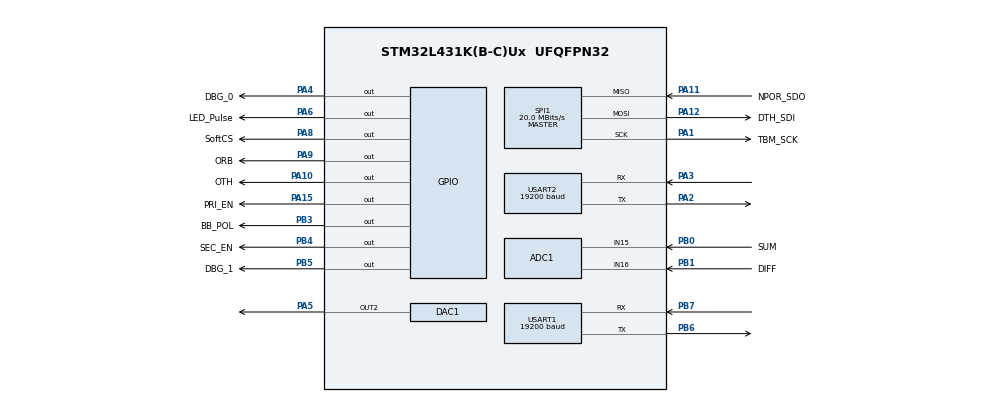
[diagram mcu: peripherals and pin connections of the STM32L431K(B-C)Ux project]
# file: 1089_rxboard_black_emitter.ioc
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ADC1.Channel-0\#ChannelRegularConversion=ADC_CHANNEL_16
ADC1.Channel-1\#ChannelRegularConversion=ADC_CHANNEL_15
ADC1.ClockPrescaler=ADC_CLOCK_ASYNC_DIV4
ADC1.EOCSelection=ADC_EOC_SINGLE_CONV
ADC1.NbrOfConversion=2
ADC1.NbrOfConversionFlag=1
ADC1.OffsetNumber-0\#ChannelRegularConversion=ADC_OFFSET_NONE
ADC1.OffsetNumber-1\#ChannelRegularConversion=ADC_OFFSET_NONE
ADC1.Rank-0\#ChannelRegularConversion=1
ADC1.Rank-1\#ChannelRegularConversion=2
ADC1.SamplingTime-0\#ChannelRegularConversion=ADC_SAMPLETIME_92CYCLES_5
ADC1.SamplingTime-1\#ChannelRegularConversion=ADC_SAMPLETIME_12CYCLES_5
ADC1.master=1
DAC1.DAC_Channel-DAC_OUT2=DAC_CHANNEL_2
DAC1.DAC_Trigger-DAC_OUT2=DAC_TRIGGER_SOFTWARE
Dma.Request0=SPI1_TX
Dma.Request1=SPI1_RX
Dma.SPI1_RX.1.Direction=DMA_PERIPH_TO_MEMORY
Dma.SPI1_RX.1.Instance=DMA1_Channel2
Dma.SPI1_RX.1.MemDataAlignment=DMA_MDATAALIGN_BYTE
Dma.SPI1_RX.1.MemInc=DMA_MINC_ENABLE
Dma.SPI1_RX.1.Mode=DMA_NORMAL
Dma.SPI1_RX.1.PeriphDataAlignment=DMA_PDATAALIGN_BYTE
Dma.SPI1_RX.1.PeriphInc=DMA_PINC_DISABLE
Dma.SPI1_RX.1.Priority=DMA_PRIORITY_LOW
Dma.SPI1_TX.0.Direction=DMA_MEMORY_TO_PERIPH
Dma.SPI1_TX.0.Instance=DMA1_Channel3
Dma.SPI1_TX.0.MemDataAlignment=DMA_MDATAALIGN_BYTE
Dma.SPI1_TX.0.MemInc=DMA_MINC_ENABLE
Dma.SPI1_TX.0.Mode=DMA_NORMAL
Dma.SPI1_TX.0.PeriphDataAlignment=DMA_PDATAALIGN_BYTE
Dma.SPI1_TX.0.PeriphInc=DMA_PINC_DISABLE
Dma.SPI1_TX.0.Priority=DMA_PRIORITY_MEDIUM
FREERTOS.Tasks01=defaultTask,24,128,StartDefaultTask,Default,NULL,Static,defaultTaskBuffer,defaultTaskControlBlock
FREERTOS.configENABLE_FPU=1
FREERTOS.configTICK_RATE_HZ=1000
FREERTOS.configUSE_NEWLIB_REENTRANT=1
Mcu.Family=STM32L4
Mcu.Name=STM32L431K(B-C)Ux
Mcu.Package=UFQFPN32
NVIC.DMA1_Channel2_IRQn=true\:5\:0\:false\:false\:true\:true\:false\:true\:true
NVIC.DMA1_Channel3_IRQn=true\:5\:0\:false\:false\:true\:true\:false\:true\:true
NVIC.PriorityGroup=NVIC_PRIORITYGROUP_4
NVIC.TIM1_UP_TIM16_IRQn=true\:15\:0\:false\:false\:true\:false\:false\:true\:true
NVIC.TimeBase=TIM1_UP_TIM16_IRQn
NVIC.TimeBaseIP=TIM16
NVIC.USART1_IRQn=true\:5\:0\:false\:false\:true\:true\:true\:true\:true
NVIC.USART2_IRQn=true\:5\:0\:false\:false\:true\:true\:true\:true\:true
PA1.GPIO_Label=TBM_SCK
PA1.Mode=Full_Duplex_Master
PA1.Signal=SPI1_SCK
PA10.GPIO_Label=OTH
PA10.GPIO_Speed=GPIO_SPEED_FREQ_VERY_HIGH
PA10.PinState=GPIO_PIN_SET
PA10.Signal=GPIO_Output
PA11.GPIO_Label=NPOR_SDO
PA11.Mode=Full_Duplex_Master
PA11.Signal=SPI1_MISO
PA12.GPIO_Label=DTH_SDI
PA12.Mode=Full_Duplex_Master
PA12.Signal=SPI1_MOSI
PA13\ (JTMS-SWDIO).Mode=Serial_Wire
PA13\ (JTMS-SWDIO).Signal=SYS_JTMS-SWDIO
PA14\ (JTCK-SWCLK).Mode=Serial_Wire
PA14\ (JTCK-SWCLK).Signal=SYS_JTCK-SWCLK
PA15\ (JTDI).GPIO_Label=PRI_EN
PA15\ (JTDI).GPIO_Speed=GPIO_SPEED_FREQ_VERY_HIGH
PA15\ (JTDI).PinState=GPIO_PIN_SET
PA15\ (JTDI).Signal=GPIO_Output
PA2.Mode=Asynchronous
PA2.Signal=USART2_TX
PA3.Mode=Asynchronous
PA3.Signal=USART2_RX
PA4.GPIO_Label=DBG_0
PA4.GPIO_Speed=GPIO_SPEED_FREQ_VERY_HIGH
PA4.PinState=GPIO_PIN_SET
PA4.Signal=GPIO_Output
PA5.Signal=COMP_DAC12_group
PA6.GPIO_Label=LED_Pulse
PA6.GPIO_Speed=GPIO_SPEED_FREQ_VERY_HIGH
PA6.PinState=GPIO_PIN_SET
PA6.Signal=GPIO_Output
PA8.GPIO_Label=SoftCS
PA8.GPIO_Speed=GPIO_SPEED_FREQ_VERY_HIGH
PA8.PinState=GPIO_PIN_SET
PA8.Signal=GPIO_Output
PA9.GPIO_Label=ORB
PA9.GPIO_Speed=GPIO_SPEED_FREQ_VERY_HIGH
PA9.PinState=GPIO_PIN_SET
PA9.Signal=GPIO_Output
PB0.GPIO_Label=SUM
PB0.Signal=ADCx_IN15
PB1.GPIO_Label=DIFF
PB1.Signal=ADCx_IN16
PB3\ (JTDO-TRACESWO).GPIO_Label=BB_POL
PB3\ (JTDO-TRACESWO).GPIO_Speed=GPIO_SPEED_FREQ_VERY_HIGH
PB3\ (JTDO-TRACESWO).PinState=GPIO_PIN_SET
PB3\ (JTDO-TRACESWO).Signal=GPIO_Output
PB4\ (NJTRST).GPIO_Label=SEC_EN
PB4\ (NJTRST).GPIO_Speed=GPIO_SPEED_FREQ_VERY_HIGH
PB4\ (NJTRST).PinState=GPIO_PIN_SET
PB4\ (NJTRST).Signal=GPIO_Output
PB5.GPIO_Label=DBG_1
PB5.GPIO_Speed=GPIO_SPEED_FREQ_VERY_HIGH
PB5.PinState=GPIO_PIN_SET
PB5.Signal=GPIO_Output
PB6.Mode=Asynchronous
PB6.Signal=USART1_TX
PB7.Mode=Asynchronous
PB7.Signal=USART1_RX
PC14-OSC32_IN\ (PC14).Mode=LSE-External-Oscillator
PC14-OSC32_IN\ (PC14).Signal=RCC_OSC32_IN
PC15-OSC32_OUT\ (PC15).Mode=LSE-External-Oscillator
PC15-OSC32_OUT\ (PC15).Signal=RCC_OSC32_OUT
ProjectManager.HeapSize=0x200
ProjectManager.StackSize=0x400
ProjectManager.TargetToolchain=STM32CubeIDE
RCC.ADCCLockSelection=RCC_ADCCLKSOURCE_SYSCLK
RCC.ADCFreq_Value=80000000
RCC.AHBFreq_Value=80000000
RCC.APB1Freq_Value=80000000
RCC.APB1TimFreq_Value=80000000
RCC.APB2Freq_Value=80000000
RCC.APB2TimFreq_Value=80000000
RCC.CortexFreq_Value=80000000
RCC.HCLKFreq_Value=80000000
RCC.HSE_VALUE=8000000
RCC.HSI48_VALUE=48000000
RCC.HSI_VALUE=16000000
RCC.MSIClockRange=RCC_MSIRANGE_8
RCC.MSI_VALUE=16000000
RCC.PLLN=10
RCC.PLLSAI1N=10
RCC.SYSCLKFreq_VALUE=80000000
RCC.SYSCLKSource=RCC_SYSCLKSOURCE_PLLCLK
RCC.USART1CLockSelection=RCC_USART1CLKSOURCE_SYSCLK
RCC.USART2CLockSelection=RCC_USART2CLKSOURCE_SYSCLK
RCC.VCOOutputFreq_Value=160000000
SH.ADCx_IN15.0=ADC1_IN15,IN15-Single-Ended
SH.ADCx_IN16.0=ADC1_IN16,IN16-Single-Ended
SH.COMP_DAC12_group.0=DAC1_OUT2,DAC_OUT2
SPI1.BaudRatePrescaler=SPI_BAUDRATEPRESCALER_4
SPI1.CalculateBaudRate=20.0 MBits/s
SPI1.DataSize=SPI_DATASIZE_8BIT
SPI1.Direction=SPI_DIRECTION_2LINES
SPI1.Mode=SPI_MODE_MASTER
SPI1.VirtualType=VM_MASTER
TIM2.Channel-Output\ Compare1\ No\ Output=TIM_CHANNEL_1
TIM2.Prescaler=79
USART1.BaudRate=19200
USART1.DataInvertParam=ADVFEATURE_DATAINV_DISABLE
USART1.RxPinLevelInvertParam=ADVFEATURE_RXINV_DISABLE
USART1.StopBits=STOPBITS_2
USART1.TxPinLevelInvertParam=ADVFEATURE_TXINV_ENABLE
USART1.VirtualMode-Asynchronous=VM_ASYNC
USART2.BaudRate=19200
USART2.DataInvertParam=ADVFEATURE_DATAINV_DISABLE
USART2.RxPinLevelInvertParam=ADVFEATURE_RXINV_DISABLE
USART2.StopBits=STOPBITS_2
USART2.TxPinLevelInvertParam=ADVFEATURE_TXINV_ENABLE
USART2.VirtualMode-Asynchronous=VM_ASYNC
VP_FREERTOS_VS_CMSIS_V2.Mode=CMSIS_V2
VP_RCC_LSE.Mode=CRS SYNC Source LSE
VP_SYS_VS_tim16.Mode=TIM16
VP_TIM2_VS_ClockSourceINT.Mode=Internal
VP_TIM2_VS_no_output1.Mode=Output Compare1 No Output
board=custom

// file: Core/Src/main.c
/* USER CODE BEGIN Header */
/**
  ******************************************************************************
  * @file           : main.c
  * @brief          : Main program body
  ******************************************************************************
  * @attention
  *
  * Copyright (c) 2023 STMicroelectronics.
  * All rights reserved.
  *
  * This software is licensed under terms that can be found in the LICENSE file
  * in the root directory of this software component.
  * If no LICENSE file comes with this software, it is provided AS-IS.
  *
  ******************************************************************************
  */
/* USER CODE END Header */
#include "main.h"
#include "cmsis_os.h"

/* USER CODE BEGIN Includes */
#include "1089E.h"
#include <string.h>
#include "ModbusParserSensor.h"
#include "serialtask.h"
#include "imagertask.h"
#include "defaults.h"
#include "FreeRTOS.h"
#include "semphr.h"
/* USER CODE END Includes */

typedef StaticTask_t osStaticThreadDef_t;

/* Definitions for defaultTask */
osThreadId_t defaultTaskHandle;
uint32_t defaultTaskBuffer[ 128 ];
osStaticThreadDef_t defaultTaskControlBlock;
const osThreadAttr_t defaultTask_attributes = {
  .name = "defaultTask",
  .cb_mem = &defaultTaskControlBlock,
  .cb_size = sizeof(defaultTaskControlBlock),
  .stack_mem = &defaultTaskBuffer[0],
  .stack_size = sizeof(defaultTaskBuffer),
  .priority = (osPriority_t) osPriorityNormal,
};
/* USER CODE BEGIN PV */
/* Definitions for serial_task */
TaskHandle_t serial_taskHandle;
uint32_t serial_taskBuffer[500];
StaticTask_t serial_taskControlBlock;

/* Definitions for imager_task */
TaskHandle_t imager_taskHandle;
uint32_t imager_taskBuffer[1000];
StaticTask_t imager_taskControlBlock;

/* Definitions for line_silence_timer */
TimerHandle_t line_silence_timerHandle;
StaticTimer_t line_silence_timerControlBlock;

/* Definitions for sema_config */
SemaphoreHandle_t sema_configHandle;
StaticSemaphore_t sema_configControlBlock;

/* USER CODE END PV */

void SystemClock_Config(void);
static void MX_GPIO_Init(void);
static void MX_DMA_Init(void);
static void MX_ADC1_Init(void);
static void MX_DAC1_Init(void);
static void MX_SPI1_Init(void);
static void MX_USART1_UART_Init(void);
static void MX_USART2_UART_Init(void);
static void MX_TIM2_Init(void);
void StartDefaultTask(void *argument);

/* USER CODE BEGIN 0 */
extern const uint8_t version_buffer[3];
#ifdef HAS_DAC_OUT
config_and_arrays_dac_t current_config;
#else
config_and_arrays_t current_config;
#endif

uint16_t SUM_REF = 0;
uint16_t DIFF_REF = 0;
uint16_t ref_kick = 0;
// buffers for ADC reads.
// Interleaved diff/sum values.
uint16_t interleaved_adc_samples[ADC_SAMPLE_COUNT];
uint8_t generic_buffer[4];
pixel_t g_pixel_cfg = {0};
uint16_t imager_count;
uint16_t read_kick;
/*
 * \brief Implements ADC cal from rm0394
 * \param [in] adc adc to cal.
 * Cals and enables the ADC.  Leaves the ADC running.
 */
void ADC_cal(ADC_TypeDef * adc)
{
	// single ended cal procedure from rm0394
	if ( (0 == LL_ADC_IsDeepPowerDownEnabled(adc)) &&
		 (1 == LL_ADC_IsInternalRegulatorEnabled(adc)) )
	{
		if (1 == LL_ADC_IsEnabled(adc))
		{
			LL_ADC_Disable(adc);
		}
		LL_ADC_StartCalibration(adc, LL_ADC_SINGLE_ENDED);
		while (1 == LL_ADC_IsCalibrationOnGoing(adc))
		{
		}
		volatile uint16_t tval  = 0;
		LL_ADC_Enable(adc);
		while( 0 == LL_ADC_IsActiveFlag_ADRDY(adc)) {
			tval++;
			if(tval > 2000)
				break;
		}
	}
}

/* USER CODE END 0 */

int main(void)
{

  /* MCU Configuration--------------------------------------------------------*/

  /* Reset of all peripherals, Initializes the Flash interface and the Systick. */
  HAL_Init();

  /* Configure the system clock */
  SystemClock_Config();

  /* USER CODE BEGIN SysInit */
	if (&current_config
			!= memset(&current_config, 0x00, sizeof(current_config)))
	{
		while (1)
		{
		}
	}

	if ( &(interleaved_adc_samples[0]) != memset(interleaved_adc_samples,
							0x00,
							(size_t) (ADC_SAMPLE_COUNT) * sizeof(uint16_t)))
	{
		while (1)
		{
		}
	}
	imager_count = 0;
  /* USER CODE END SysInit */

  /* Initialize all configured peripherals */
  MX_GPIO_Init();
  MX_DMA_Init();
  MX_ADC1_Init();
  MX_DAC1_Init();
  MX_SPI1_Init();
  MX_USART1_UART_Init();
  MX_USART2_UART_Init();
  MX_TIM2_Init();
  /* USER CODE BEGIN 2 */

	// Need 20us to stabilize adc internal voltage regulators
// strictly necessary as -O1 may have removed the stabilizer delay in setup code.
	LL_TIM_CC_EnableChannel(TIM2, LL_TIM_CHANNEL_CH1);
	LL_TIM_ClearFlag_UPDATE(TIM2);
	LL_TIM_DisableCounter(TIM2);
	LL_TIM_DisableARRPreload(TIM2);
	LL_TIM_SetAutoReload(TIM2, 30);
	LL_TIM_EnableCounter(TIM2);
	while (!(LL_TIM_IsActiveFlag_UPDATE(TIM2))) { }
	LL_TIM_ClearFlag_UPDATE(TIM2);
	LL_TIM_DisableCounter(TIM2);
	LL_TIM_DisableARRPreload(TIM2);
	LL_TIM_DisableCounter(TIM2);

	LL_GPIO_ResetOutputPin(LED_Pulse_GPIO_Port, LED_Pulse_Pin);

	// single ended cal procedure from rm0394
	ADC_cal(ADC1);
	if(ModbusParser__CheckForModbusTableError())
	{
		while(1) {}
	}
  /* USER CODE END 2 */

  /* Init scheduler */
  osKernelInitialize();

  /* USER CODE BEGIN RTOS_SEMAPHORES */
  sema_configHandle = xSemaphoreCreateBinaryStatic(&sema_configControlBlock);
  // intialize the semaphore
  xSemaphoreGive(sema_configHandle);

  /* USER CODE END RTOS_SEMAPHORES */

  /* USER CODE BEGIN RTOS_TIMERS */
	uint32_t lst = 1;
	line_silence_timerHandle = xTimerCreateStatic("line_silence_tmr",
			pdMS_TO_TICKS(5),
			pdFALSE,
			&lst,
			line_silence_cb,
			&line_silence_timerControlBlock);
  /* USER CODE END RTOS_TIMERS */

  /* Create the thread(s) */
  /* creation of defaultTask */
  defaultTaskHandle = osThreadNew(StartDefaultTask, NULL, &defaultTask_attributes);

  /* USER CODE BEGIN RTOS_THREADS */
	serial_taskHandle = xTaskCreateStatic(serial_task_func,
					"serial_task",
					500,
					NULL,
					( tskIDLE_PRIORITY + 2 ),
					serial_taskBuffer,
					&serial_taskControlBlock);

	/* creation of imager_task */
	imager_taskHandle = xTaskCreateStatic(imager_task_func,
			"imager_task",
			1000,
			NULL,
			( tskIDLE_PRIORITY + 3 ),
			imager_taskBuffer,
			&imager_taskControlBlock);
  /* USER CODE END RTOS_THREADS */

  /* Start scheduler */
  osKernelStart();

  /* We should never get here as control is now taken by the scheduler */
  /* Infinite loop */
  while (1)
  {

  }
}

void SystemClock_Config(void)
{
  LL_FLASH_SetLatency(LL_FLASH_LATENCY_4);
  while(LL_FLASH_GetLatency()!= LL_FLASH_LATENCY_4)
  {
  }
  LL_PWR_SetRegulVoltageScaling(LL_PWR_REGU_VOLTAGE_SCALE1);
  while (LL_PWR_IsActiveFlag_VOS() != 0)
  {
  }
  LL_RCC_MSI_Enable();

   /* Wait till MSI is ready */
  while(LL_RCC_MSI_IsReady() != 1)
  {

  }
  LL_RCC_MSI_EnableRangeSelection();
  LL_RCC_MSI_SetRange(LL_RCC_MSIRANGE_8);
  LL_RCC_MSI_SetCalibTrimming(0);
  LL_PWR_EnableBkUpAccess();
  LL_RCC_LSE_SetDriveCapability(LL_RCC_LSEDRIVE_LOW);
  LL_RCC_LSE_Enable();

   /* Wait till LSE is ready */
  while(LL_RCC_LSE_IsReady() != 1)
  {

  }
  LL_RCC_MSI_EnablePLLMode();
  LL_RCC_PLL_ConfigDomain_SYS(LL_RCC_PLLSOURCE_MSI, LL_RCC_PLLM_DIV_1, 10, LL_RCC_PLLR_DIV_2);
  LL_RCC_PLL_EnableDomain_SYS();
  LL_RCC_PLL_Enable();

   /* Wait till PLL is ready */
  while(LL_RCC_PLL_IsReady() != 1)
  {

  }
  LL_RCC_SetSysClkSource(LL_RCC_SYS_CLKSOURCE_PLL);

   /* Wait till System clock is ready */
  while(LL_RCC_GetSysClkSource() != LL_RCC_SYS_CLKSOURCE_STATUS_PLL)
  {

  }
  LL_RCC_SetAHBPrescaler(LL_RCC_SYSCLK_DIV_1);
  LL_RCC_SetAPB1Prescaler(LL_RCC_APB1_DIV_1);
  LL_RCC_SetAPB2Prescaler(LL_RCC_APB2_DIV_1);
  LL_SetSystemCoreClock(80000000);

   /* Update the time base */
  if (HAL_InitTick (TICK_INT_PRIORITY) != HAL_OK)
  {
    Error_Handler();
  }
  LL_APB1_GRP1_EnableClock(LL_APB1_GRP1_PERIPH_CRS);
  LL_APB1_GRP1_ForceReset(LL_APB1_GRP1_PERIPH_CRS);
  LL_APB1_GRP1_ReleaseReset(LL_APB1_GRP1_PERIPH_CRS);
  LL_CRS_SetSyncDivider(LL_CRS_SYNC_DIV_1);
  LL_CRS_SetSyncPolarity(LL_CRS_SYNC_POLARITY_RISING);
  LL_CRS_SetSyncSignalSource(LL_CRS_SYNC_SOURCE_LSE);
  LL_CRS_SetReloadCounter(__LL_CRS_CALC_CALCULATE_RELOADVALUE(48000000,32768));
  LL_CRS_SetFreqErrorLimit(34);
  LL_CRS_SetHSI48SmoothTrimming(32);
}

static void MX_ADC1_Init(void)
{

  LL_ADC_InitTypeDef ADC_InitStruct = {0};
  LL_ADC_REG_InitTypeDef ADC_REG_InitStruct = {0};
  LL_ADC_CommonInitTypeDef ADC_CommonInitStruct = {0};

  LL_GPIO_InitTypeDef GPIO_InitStruct = {0};

  LL_RCC_SetADCClockSource(LL_RCC_ADC_CLKSOURCE_SYSCLK);

  /* Peripheral clock enable */
  LL_AHB2_GRP1_EnableClock(LL_AHB2_GRP1_PERIPH_ADC);

  LL_AHB2_GRP1_EnableClock(LL_AHB2_GRP1_PERIPH_GPIOB);
  /**ADC1 GPIO Configuration
  PB0   ------> ADC1_IN15
  PB1   ------> ADC1_IN16
  */
  GPIO_InitStruct.Pin = SUM_Pin|DIFF_Pin;
  GPIO_InitStruct.Mode = LL_GPIO_MODE_ANALOG;
  GPIO_InitStruct.Pull = LL_GPIO_PULL_NO;
  LL_GPIO_Init(GPIOB, &GPIO_InitStruct);

  /** Common config
  */
  ADC_InitStruct.Resolution = LL_ADC_RESOLUTION_12B;
  ADC_InitStruct.DataAlignment = LL_ADC_DATA_ALIGN_RIGHT;
  ADC_InitStruct.LowPowerMode = LL_ADC_LP_MODE_NONE;
  LL_ADC_Init(ADC1, &ADC_InitStruct);
  ADC_REG_InitStruct.TriggerSource = LL_ADC_REG_TRIG_SOFTWARE;
  ADC_REG_InitStruct.SequencerLength = LL_ADC_REG_SEQ_SCAN_ENABLE_2RANKS;
  ADC_REG_InitStruct.SequencerDiscont = LL_ADC_REG_SEQ_DISCONT_DISABLE;
  ADC_REG_InitStruct.ContinuousMode = LL_ADC_REG_CONV_SINGLE;
  ADC_REG_InitStruct.DMATransfer = LL_ADC_REG_DMA_TRANSFER_NONE;
  ADC_REG_InitStruct.Overrun = LL_ADC_REG_OVR_DATA_PRESERVED;
  LL_ADC_REG_Init(ADC1, &ADC_REG_InitStruct);
  ADC_CommonInitStruct.CommonClock = LL_ADC_CLOCK_ASYNC_DIV4;
  LL_ADC_CommonInit(__LL_ADC_COMMON_INSTANCE(ADC1), &ADC_CommonInitStruct);
  LL_ADC_SetCommonPathInternalCh(__LL_ADC_COMMON_INSTANCE(ADC1), LL_ADC_PATH_INTERNAL_NONE);

  /* Disable ADC deep power down (enabled by default after reset state) */
  LL_ADC_DisableDeepPowerDown(ADC1);
  /* Enable ADC internal voltage regulator */
  LL_ADC_EnableInternalRegulator(ADC1);
  /* Delay for ADC internal voltage regulator stabilization. */
  /* Compute number of CPU cycles to wait for, from delay in us. */
  /* Note: Variable divided by 2 to compensate partially */
  /* CPU processing cycles (depends on compilation optimization). */
  /* Note: If system core clock frequency is below 200kHz, wait time */
  /* is only a few CPU processing cycles. */
  uint32_t wait_loop_index;
  wait_loop_index = ((LL_ADC_DELAY_INTERNAL_REGUL_STAB_US * (SystemCoreClock / (100000 * 2))) / 10);
  while(wait_loop_index != 0)
  {
    wait_loop_index--;
  }

  /** Configure Regular Channel
  */
  LL_ADC_REG_SetSequencerRanks(ADC1, LL_ADC_REG_RANK_1, LL_ADC_CHANNEL_16);
  LL_ADC_SetChannelSamplingTime(ADC1, LL_ADC_CHANNEL_16, LL_ADC_SAMPLINGTIME_92CYCLES_5);
  LL_ADC_SetChannelSingleDiff(ADC1, LL_ADC_CHANNEL_16, LL_ADC_SINGLE_ENDED);

  /** Configure Regular Channel
  */
  LL_ADC_REG_SetSequencerRanks(ADC1, LL_ADC_REG_RANK_2, LL_ADC_CHANNEL_15);
  LL_ADC_SetChannelSamplingTime(ADC1, LL_ADC_CHANNEL_15, LL_ADC_SAMPLINGTIME_12CYCLES_5);
  LL_ADC_SetChannelSingleDiff(ADC1, LL_ADC_CHANNEL_15, LL_ADC_SINGLE_ENDED);

}

static void MX_DAC1_Init(void)
{

  LL_DAC_InitTypeDef DAC_InitStruct = {0};

  LL_GPIO_InitTypeDef GPIO_InitStruct = {0};

  /* Peripheral clock enable */
  LL_APB1_GRP1_EnableClock(LL_APB1_GRP1_PERIPH_DAC1);

  LL_AHB2_GRP1_EnableClock(LL_AHB2_GRP1_PERIPH_GPIOA);
  /**DAC1 GPIO Configuration
  PA5   ------> DAC1_OUT2
  */
  GPIO_InitStruct.Pin = LL_GPIO_PIN_5;
  GPIO_InitStruct.Mode = LL_GPIO_MODE_ANALOG;
  GPIO_InitStruct.Pull = LL_GPIO_PULL_NO;
  LL_GPIO_Init(GPIOA, &GPIO_InitStruct);

  /** DAC channel OUT2 config
  */
  DAC_InitStruct.TriggerSource = LL_DAC_TRIG_SOFTWARE;
  DAC_InitStruct.WaveAutoGeneration = LL_DAC_WAVE_AUTO_GENERATION_NONE;
  DAC_InitStruct.OutputBuffer = LL_DAC_OUTPUT_BUFFER_ENABLE;
  DAC_InitStruct.OutputConnection = LL_DAC_OUTPUT_CONNECT_GPIO;
  DAC_InitStruct.OutputMode = LL_DAC_OUTPUT_MODE_NORMAL;
  LL_DAC_Init(DAC1, LL_DAC_CHANNEL_2, &DAC_InitStruct);
  LL_DAC_EnableTrigger(DAC1, LL_DAC_CHANNEL_2);

}

static void MX_SPI1_Init(void)
{

  LL_SPI_InitTypeDef SPI_InitStruct = {0};

  LL_GPIO_InitTypeDef GPIO_InitStruct = {0};

  /* Peripheral clock enable */
  LL_APB2_GRP1_EnableClock(LL_APB2_GRP1_PERIPH_SPI1);

  LL_AHB2_GRP1_EnableClock(LL_AHB2_GRP1_PERIPH_GPIOA);
  /**SPI1 GPIO Configuration
  PA1   ------> SPI1_SCK
  PA11   ------> SPI1_MISO
  PA12   ------> SPI1_MOSI
  */
  GPIO_InitStruct.Pin = TBM_SCK_Pin|NPOR_SDO_Pin|DTH_SDI_Pin;
  GPIO_InitStruct.Mode = LL_GPIO_MODE_ALTERNATE;
  GPIO_InitStruct.Speed = LL_GPIO_SPEED_FREQ_VERY_HIGH;
  GPIO_InitStruct.OutputType = LL_GPIO_OUTPUT_PUSHPULL;
  GPIO_InitStruct.Pull = LL_GPIO_PULL_NO;
  GPIO_InitStruct.Alternate = LL_GPIO_AF_5;
  LL_GPIO_Init(GPIOA, &GPIO_InitStruct);

  /* SPI1 DMA Init */

  /* SPI1_TX Init */
  LL_DMA_SetPeriphRequest(DMA1, LL_DMA_CHANNEL_3, LL_DMA_REQUEST_1);

  LL_DMA_SetDataTransferDirection(DMA1, LL_DMA_CHANNEL_3, LL_DMA_DIRECTION_MEMORY_TO_PERIPH);

  LL_DMA_SetChannelPriorityLevel(DMA1, LL_DMA_CHANNEL_3, LL_DMA_PRIORITY_MEDIUM);

  LL_DMA_SetMode(DMA1, LL_DMA_CHANNEL_3, LL_DMA_MODE_NORMAL);

  LL_DMA_SetPeriphIncMode(DMA1, LL_DMA_CHANNEL_3, LL_DMA_PERIPH_NOINCREMENT);

  LL_DMA_SetMemoryIncMode(DMA1, LL_DMA_CHANNEL_3, LL_DMA_MEMORY_INCREMENT);

  LL_DMA_SetPeriphSize(DMA1, LL_DMA_CHANNEL_3, LL_DMA_PDATAALIGN_BYTE);

  LL_DMA_SetMemorySize(DMA1, LL_DMA_CHANNEL_3, LL_DMA_MDATAALIGN_BYTE);

  /* SPI1_RX Init */
  LL_DMA_SetPeriphRequest(DMA1, LL_DMA_CHANNEL_2, LL_DMA_REQUEST_1);

  LL_DMA_SetDataTransferDirection(DMA1, LL_DMA_CHANNEL_2, LL_DMA_DIRECTION_PERIPH_TO_MEMORY);

  LL_DMA_SetChannelPriorityLevel(DMA1, LL_DMA_CHANNEL_2, LL_DMA_PRIORITY_LOW);

  LL_DMA_SetMode(DMA1, LL_DMA_CHANNEL_2, LL_DMA_MODE_NORMAL);

  LL_DMA_SetPeriphIncMode(DMA1, LL_DMA_CHANNEL_2, LL_DMA_PERIPH_NOINCREMENT);

  LL_DMA_SetMemoryIncMode(DMA1, LL_DMA_CHANNEL_2, LL_DMA_MEMORY_INCREMENT);

  LL_DMA_SetPeriphSize(DMA1, LL_DMA_CHANNEL_2, LL_DMA_PDATAALIGN_BYTE);

  LL_DMA_SetMemorySize(DMA1, LL_DMA_CHANNEL_2, LL_DMA_MDATAALIGN_BYTE);

  /* SPI1 parameter configuration*/
  SPI_InitStruct.TransferDirection = LL_SPI_FULL_DUPLEX;
  SPI_InitStruct.Mode = LL_SPI_MODE_MASTER;
  SPI_InitStruct.DataWidth = LL_SPI_DATAWIDTH_8BIT;
  SPI_InitStruct.ClockPolarity = LL_SPI_POLARITY_LOW;
  SPI_InitStruct.ClockPhase = LL_SPI_PHASE_1EDGE;
  SPI_InitStruct.NSS = LL_SPI_NSS_SOFT;
  SPI_InitStruct.BaudRate = LL_SPI_BAUDRATEPRESCALER_DIV4;
  SPI_InitStruct.BitOrder = LL_SPI_MSB_FIRST;
  SPI_InitStruct.CRCCalculation = LL_SPI_CRCCALCULATION_DISABLE;
  SPI_InitStruct.CRCPoly = 7;
  LL_SPI_Init(SPI1, &SPI_InitStruct);
  LL_SPI_SetStandard(SPI1, LL_SPI_PROTOCOL_MOTOROLA);
  LL_SPI_EnableNSSPulseMgt(SPI1);

}

static void MX_TIM2_Init(void)
{

  LL_TIM_InitTypeDef TIM_InitStruct = {0};
  LL_TIM_OC_InitTypeDef TIM_OC_InitStruct = {0};

  /* Peripheral clock enable */
  LL_APB1_GRP1_EnableClock(LL_APB1_GRP1_PERIPH_TIM2);

  TIM_InitStruct.Prescaler = 79;
  TIM_InitStruct.CounterMode = LL_TIM_COUNTERMODE_UP;
  TIM_InitStruct.Autoreload = 4294967295;
  TIM_InitStruct.ClockDivision = LL_TIM_CLOCKDIVISION_DIV1;
  LL_TIM_Init(TIM2, &TIM_InitStruct);
  LL_TIM_DisableARRPreload(TIM2);
  LL_TIM_SetClockSource(TIM2, LL_TIM_CLOCKSOURCE_INTERNAL);
  TIM_OC_InitStruct.OCMode = LL_TIM_OCMODE_FROZEN;
  TIM_OC_InitStruct.OCState = LL_TIM_OCSTATE_DISABLE;
  TIM_OC_InitStruct.OCNState = LL_TIM_OCSTATE_DISABLE;
  TIM_OC_InitStruct.CompareValue = 0;
  TIM_OC_InitStruct.OCPolarity = LL_TIM_OCPOLARITY_HIGH;
  LL_TIM_OC_Init(TIM2, LL_TIM_CHANNEL_CH1, &TIM_OC_InitStruct);
  LL_TIM_OC_DisableFast(TIM2, LL_TIM_CHANNEL_CH1);
  LL_TIM_SetOCRefClearInputSource(TIM2, LL_TIM_OCREF_CLR_INT_NC);
  LL_TIM_DisableExternalClock(TIM2);
  LL_TIM_ConfigETR(TIM2, LL_TIM_ETR_POLARITY_NONINVERTED, LL_TIM_ETR_PRESCALER_DIV1, LL_TIM_ETR_FILTER_FDIV1);
  LL_TIM_SetTriggerOutput(TIM2, LL_TIM_TRGO_RESET);
  LL_TIM_DisableMasterSlaveMode(TIM2);

}

static void MX_USART1_UART_Init(void)
{

  LL_USART_InitTypeDef USART_InitStruct = {0};

  LL_GPIO_InitTypeDef GPIO_InitStruct = {0};

  LL_RCC_SetUSARTClockSource(LL_RCC_USART1_CLKSOURCE_SYSCLK);

  /* Peripheral clock enable */
  LL_APB2_GRP1_EnableClock(LL_APB2_GRP1_PERIPH_USART1);

  LL_AHB2_GRP1_EnableClock(LL_AHB2_GRP1_PERIPH_GPIOB);
  /**USART1 GPIO Configuration
  PB6   ------> USART1_TX
  PB7   ------> USART1_RX
  */
  GPIO_InitStruct.Pin = LL_GPIO_PIN_6|LL_GPIO_PIN_7;
  GPIO_InitStruct.Mode = LL_GPIO_MODE_ALTERNATE;
  GPIO_InitStruct.Speed = LL_GPIO_SPEED_FREQ_VERY_HIGH;
  GPIO_InitStruct.OutputType = LL_GPIO_OUTPUT_PUSHPULL;
  GPIO_InitStruct.Pull = LL_GPIO_PULL_NO;
  GPIO_InitStruct.Alternate = LL_GPIO_AF_7;
  LL_GPIO_Init(GPIOB, &GPIO_InitStruct);

  /* USART1 interrupt Init */
  NVIC_SetPriority(USART1_IRQn, NVIC_EncodePriority(NVIC_GetPriorityGrouping(),5, 0));
  NVIC_EnableIRQ(USART1_IRQn);

  USART_InitStruct.BaudRate = 19200;
  USART_InitStruct.DataWidth = LL_USART_DATAWIDTH_8B;
  USART_InitStruct.StopBits = LL_USART_STOPBITS_2;
  USART_InitStruct.Parity = LL_USART_PARITY_NONE;
  USART_InitStruct.TransferDirection = LL_USART_DIRECTION_TX_RX;
  USART_InitStruct.HardwareFlowControl = LL_USART_HWCONTROL_NONE;
  USART_InitStruct.OverSampling = LL_USART_OVERSAMPLING_16;
  LL_USART_Init(USART1, &USART_InitStruct);
  LL_USART_SetTXPinLevel(USART1, LL_USART_TXPIN_LEVEL_INVERTED);
  LL_USART_ConfigAsyncMode(USART1);
  LL_USART_Enable(USART1);

}

static void MX_USART2_UART_Init(void)
{

  LL_USART_InitTypeDef USART_InitStruct = {0};

  LL_GPIO_InitTypeDef GPIO_InitStruct = {0};

  LL_RCC_SetUSARTClockSource(LL_RCC_USART2_CLKSOURCE_SYSCLK);

  /* Peripheral clock enable */
  LL_APB1_GRP1_EnableClock(LL_APB1_GRP1_PERIPH_USART2);

  LL_AHB2_GRP1_EnableClock(LL_AHB2_GRP1_PERIPH_GPIOA);
  /**USART2 GPIO Configuration
  PA2   ------> USART2_TX
  PA3   ------> USART2_RX
  */
  GPIO_InitStruct.Pin = LL_GPIO_PIN_2|LL_GPIO_PIN_3;
  GPIO_InitStruct.Mode = LL_GPIO_MODE_ALTERNATE;
  GPIO_InitStruct.Speed = LL_GPIO_SPEED_FREQ_VERY_HIGH;
  GPIO_InitStruct.OutputType = LL_GPIO_OUTPUT_PUSHPULL;
  GPIO_InitStruct.Pull = LL_GPIO_PULL_NO;
  GPIO_InitStruct.Alternate = LL_GPIO_AF_7;
  LL_GPIO_Init(GPIOA, &GPIO_InitStruct);

  /* USART2 interrupt Init */
  NVIC_SetPriority(USART2_IRQn, NVIC_EncodePriority(NVIC_GetPriorityGrouping(),5, 0));
  NVIC_EnableIRQ(USART2_IRQn);

  USART_InitStruct.BaudRate = 19200;
  USART_InitStruct.DataWidth = LL_USART_DATAWIDTH_8B;
  USART_InitStruct.StopBits = LL_USART_STOPBITS_2;
  USART_InitStruct.Parity = LL_USART_PARITY_NONE;
  USART_InitStruct.TransferDirection = LL_USART_DIRECTION_TX_RX;
  USART_InitStruct.HardwareFlowControl = LL_USART_HWCONTROL_NONE;
  USART_InitStruct.OverSampling = LL_USART_OVERSAMPLING_16;
  LL_USART_Init(USART2, &USART_InitStruct);
  LL_USART_SetTXPinLevel(USART2, LL_USART_TXPIN_LEVEL_INVERTED);
  LL_USART_ConfigAsyncMode(USART2);
  LL_USART_Enable(USART2);

}

static void MX_DMA_Init(void)
{

  /* Init with LL driver */
  /* DMA controller clock enable */
  LL_AHB1_GRP1_EnableClock(LL_AHB1_GRP1_PERIPH_DMA1);

  /* DMA interrupt init */
  /* DMA1_Channel2_IRQn interrupt configuration */
  NVIC_SetPriority(DMA1_Channel2_IRQn, NVIC_EncodePriority(NVIC_GetPriorityGrouping(),5, 0));
  NVIC_EnableIRQ(DMA1_Channel2_IRQn);
  /* DMA1_Channel3_IRQn interrupt configuration */
  NVIC_SetPriority(DMA1_Channel3_IRQn, NVIC_EncodePriority(NVIC_GetPriorityGrouping(),5, 0));
  NVIC_EnableIRQ(DMA1_Channel3_IRQn);

}

static void MX_GPIO_Init(void)
{
  LL_GPIO_InitTypeDef GPIO_InitStruct = {0};

  /* GPIO Ports Clock Enable */
  LL_AHB2_GRP1_EnableClock(LL_AHB2_GRP1_PERIPH_GPIOC);
  LL_AHB2_GRP1_EnableClock(LL_AHB2_GRP1_PERIPH_GPIOA);
  LL_AHB2_GRP1_EnableClock(LL_AHB2_GRP1_PERIPH_GPIOB);

  /**/
  LL_GPIO_SetOutputPin(GPIOA, DBG_0_Pin|LED_Pulse_Pin|SoftCS_Pin|ORB_Pin
                          |OTH_Pin|PRI_EN_Pin);

  /**/
  LL_GPIO_SetOutputPin(GPIOB, BB_POL_Pin|SEC_EN_Pin|DBG_1_Pin);

  /**/
  GPIO_InitStruct.Pin = DBG_0_Pin|LED_Pulse_Pin|SoftCS_Pin|ORB_Pin
                          |OTH_Pin|PRI_EN_Pin;
  GPIO_InitStruct.Mode = LL_GPIO_MODE_OUTPUT;
  GPIO_InitStruct.Speed = LL_GPIO_SPEED_FREQ_VERY_HIGH;
  GPIO_InitStruct.OutputType = LL_GPIO_OUTPUT_PUSHPULL;
  GPIO_InitStruct.Pull = LL_GPIO_PULL_NO;
  LL_GPIO_Init(GPIOA, &GPIO_InitStruct);

  /**/
  GPIO_InitStruct.Pin = BB_POL_Pin|SEC_EN_Pin|DBG_1_Pin;
  GPIO_InitStruct.Mode = LL_GPIO_MODE_OUTPUT;
  GPIO_InitStruct.Speed = LL_GPIO_SPEED_FREQ_VERY_HIGH;
  GPIO_InitStruct.OutputType = LL_GPIO_OUTPUT_PUSHPULL;
  GPIO_InitStruct.Pull = LL_GPIO_PULL_NO;
  LL_GPIO_Init(GPIOB, &GPIO_InitStruct);

}

void StartDefaultTask(void *argument)
{
  for(;;)
  {
    osDelay(1);
  }
}

void HAL_TIM_PeriodElapsedCallback(TIM_HandleTypeDef *htim)
{
  if (htim->Instance == TIM16) {
    HAL_IncTick();
  }
}

void Error_Handler(void)
{
  __disable_irq();
  while (1)
  {
  }
}
